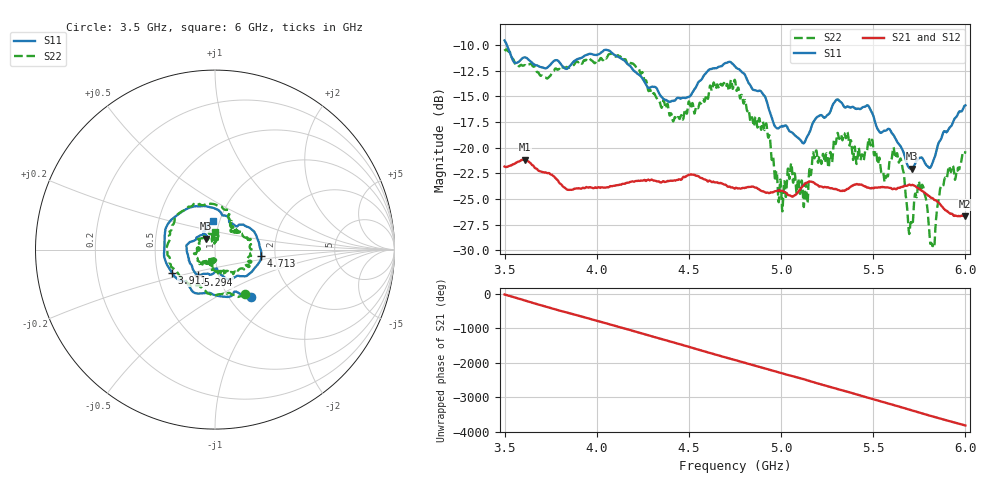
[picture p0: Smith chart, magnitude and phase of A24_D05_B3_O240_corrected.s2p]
! Created with skrf 1.9.0 (http://scikit-rf.org).
# Hz S RI R 50.0
!freq ReS11 ImS11 ReS21 ImS21 ReS12 ImS12 ReS22 ImS22
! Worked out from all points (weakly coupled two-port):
!   1601 points, 3.5 GHz to 6 GHz, reference 50 ohm
!   highest |S21| = -21.17 dB at 3.609 GHz (marker M1); lowest = -26.7 dB at 5.995 GHz (marker M2)
!   lowest |S11| = -22.1 dB at 5.709 GHz (marker M3), VSWR 1.17, Z = 44.9 + j5.45 ohm
!   |S11| at or under -10 dB: 3.512 GHz to end of sweep
!   |S22| runs from -29.6 to -10.4 dB; largest |S21 - S12| = 0.00091
!   S11 on the Smith chart (normalised r, x): 3.5 GHz: 1.26, -0.75; 3.911 GHz: 0.60, -0.17; 4.713 GHz: 1.69, -0.13; 5.294 GHz: 0.80, -0.23; 6 GHz: 0.93, +0.31
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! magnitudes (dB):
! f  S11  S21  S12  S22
! 3.5 GHz  -9.6  -21.8  -21.8  -10.4
! 3.609 GHz  -11.2  -21.2  -21.2  -12.0
! 3.911 GHz  -11.3  -24.0  -24.0  -11.6
! 3.917 GHz  -11.3  -24.0  -24.0  -11.8
! 4.128 GHz  -11.3  -23.6  -23.6  -11.2
! 4.334 GHz  -14.6  -23.3  -23.2  -15.4
! 4.713 GHz  -11.7  -23.8  -23.8  -14.1
! 4.75 GHz  -12.1  -24.0  -23.9  -13.5
! 4.927 GHz  -15.8  -24.4  -24.4  -18.7
! 4.997 GHz  -18.0  -24.2  -24.2  -23.1
! 5.047 GHz  -18.4  -24.6  -24.7  -22.9
! 5.133 GHz  -19.3  -23.5  -23.5  -23.5
! 5.167 GHz  -17.8  -23.3  -23.3  -21.6
! 5.294 GHz  -15.5  -24.0  -24.0  -19.6
! 5.584 GHz  -18.2  -23.9  -23.9  -22.0
! 5.642 GHz  -19.7  -23.9  -23.9  -21.3
! 5.709 GHz  -22.1  -23.6  -23.6  -27.5
! 5.759 GHz  -21.0  -24.2  -24.1  -24.2
! 5.822 GHz  -21.5  -24.9  -24.9  -29.5
! 5.873 GHz  -18.9  -25.7  -25.7  -23.7
! 5.995 GHz  -15.9  -26.7  -26.6  -20.7
! 6 GHz  -15.9  -26.7  -26.6  -20.4
